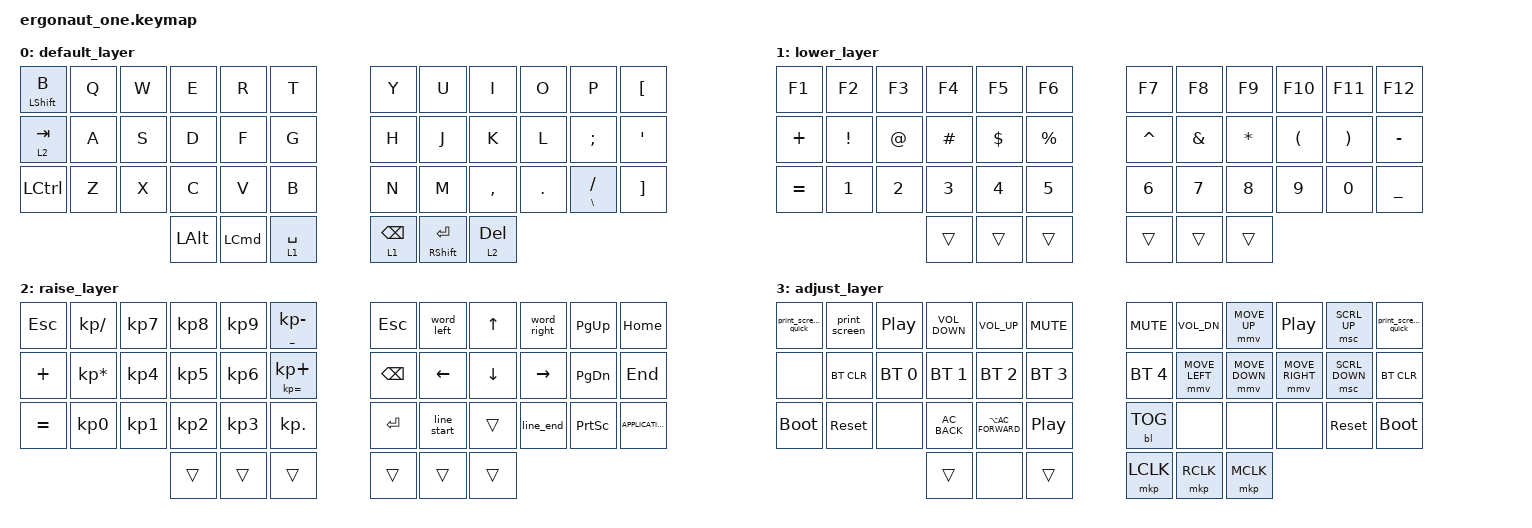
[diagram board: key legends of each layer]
#define ZMK_MOUSE_DEFAULT_MOVE_VAL 800  // 600
#define ZMK_MOUSE_DEFAULT_SCRL_VAL 20   // 10

#include <behaviors/mouse_keys.dtsi>
#include <dt-bindings/zmk/mouse.h>
#include <behaviors.dtsi>
#include <dt-bindings/zmk/backlight.h>
#include <dt-bindings/zmk/bt.h>
#include <dt-bindings/zmk/keys.h>
#include <dt-bindings/zmk/pointing.h>

#define DEF 0
#define LWR 1
#define RSE 2
#define ADJ 3

&lt {
    quick-tap-ms = <100>;
    flavor = "hold-preferred";
};

&mt { quick-tap-ms = <100>; };

&mmv {
    acceleration-exponent = <1>;  // 1
    time-to-max-speed-ms = <300>; // 300
    delay-ms = <0>;
    trigger-period-ms = <8>;      // 16
};

&msc {
    acceleration-exponent = <1>;  // 0
    time-to-max-speed-ms = <40>;  // 300
    delay-ms = <0>;
    trigger-period-ms = <8>;      // 16
};

/ {
    conditional_layers {
        compatible = "zmk,conditional-layers";

        tri-layer {
            if-layers = <1 2>;
            then-layer = <3>;
        };
    };

    combos {
        compatible = "zmk,combos";

        switch_lang {
            bindings = <&switch_lang>;
            key-positions = <38 39>;
            timeout-ms = <300>;
        };

        esc {
            bindings = <&kp ESCAPE>;
            key-positions = <0 12>;
            timeout-ms = <300>;
        };
    };

    macros {
        word_right: word_right {
            compatible = "zmk,behavior-macro";
            #binding-cells = <0>;
            bindings = <&kp LA(RIGHT)>;
            label = "WORD_RIGHT";
        };

        word_left: word_left {
            compatible = "zmk,behavior-macro";
            #binding-cells = <0>;
            bindings = <&kp LA(LEFT)>;
            label = "WORD_LEFT";
        };

        line_start: line_start {
            compatible = "zmk,behavior-macro";
            #binding-cells = <0>;
            bindings = <&kp LG(LEFT)>;
            label = "LINE_START";
        };

        line_end: line_end {
            compatible = "zmk,behavior-macro";
            #binding-cells = <0>;
            bindings = <&kp LG(RIGHT)>;
            label = "LINE_END";
        };

        switch_lang: switch_lang {
            compatible = "zmk,behavior-macro";
            #binding-cells = <0>;
            bindings = <&kp LG(SPACE)>;
            label = "SWITCH_LANG";
        };

        print_screen: print_screen {
            compatible = "zmk,behavior-macro";
            #binding-cells = <0>;
            bindings = <&kp LG(LS(NUMBER_4))>;
            label = "PRINT_SCREEN";
        };

        print_screen_quick: print_screen_quick {
            compatible = "zmk,behavior-macro";
            #binding-cells = <0>;
            bindings = <&kp LG(LS(NUMBER_3))>;
            label = "PRINT_SCREEN_QUICK";
        };
    };

    keymap {
        compatible = "zmk,keymap";

        default_layer {
            bindings = <
&mt LEFT_SHIFT B  &kp Q  &kp W  &kp E         &kp R             &kp T        &kp Y            &kp U            &kp I      &kp O    &kp P               &kp LBKT
&lt 2 TAB         &kp A  &kp S  &kp D         &kp F             &kp G        &kp H            &kp J            &kp K      &kp L    &kp SEMI            &kp SQT
&kp LCTRL         &kp Z  &kp X  &kp C         &kp V             &kp B        &kp N            &kp M            &kp COMMA  &kp DOT  &mt BACKSLASH FSLH  &kp RIGHT_BRACKET
                                &kp LEFT_ALT  &kp LEFT_COMMAND  &lt 1 SPACE  &lt 1 BACKSPACE  &mt RSHFT ENTER  &lt 2 DEL
            >;
        };

        lower_layer {
            bindings = <
&kp F1     &kp F2    &kp F3  &kp F4    &kp F5    &kp F6     &kp F7     &kp F8    &kp F9    &kp F10   &kp F11   &kp F12
&kp PLUS   &kp EXCL  &kp AT  &kp HASH  &kp DLLR  &kp PRCNT  &kp CARET  &kp AMPS  &kp STAR  &kp LPAR  &kp RPAR  &kp MINUS
&kp EQUAL  &kp N1    &kp N2  &kp N3    &kp N4    &kp N5     &kp N6     &kp N7    &kp N8    &kp N9    &kp N0    &kp UNDER
                             &trans    &trans    &trans     &trans     &trans    &trans
            >;
        };

        raise_layer {
            bindings = <
&kp ESCAPE  &kp KP_SLASH     &kp KP_N7  &kp KP_N8  &kp KP_N9  &mt UNDERSCORE KP_MINUS  &kp ESCAPE     &word_left   &kp UP_ARROW  &word_right  &kp PAGE_UP      &kp HOME
&kp PLUS    &kp KP_MULTIPLY  &kp KP_N4  &kp KP_N5  &kp KP_N6  &mt KP_EQUAL KP_PLUS     &kp BACKSPACE  &kp LEFT     &kp DOWN      &kp RIGHT    &kp PAGE_DOWN    &kp END
&kp EQUAL   &kp KP_N0        &kp KP_N1  &kp KP_N2  &kp KP_N3  &kp KP_DOT               &kp ENTER      &line_start  &trans        &line_end    &kp PRINTSCREEN  &kp K_APPLICATION
                                        &trans     &trans     &trans                   &trans         &trans       &trans
            >;
        };

        adjust_layer {
            bindings = <
&print_screen_quick  &print_screen  &kp C_PLAY_PAUSE  &kp C_VOLUME_DOWN  &kp C_VOL_UP          &kp K_MUTE        &kp K_MUTE    &kp C_VOL_DN    &mmv MOVE_UP    &kp C_PLAY_PAUSE  &msc SCRL_UP    &print_screen_quick
&none                &bt BT_CLR     &bt BT_SEL 0      &bt BT_SEL 1       &bt BT_SEL 2          &bt BT_SEL 3      &bt BT_SEL 4  &mmv MOVE_LEFT  &mmv MOVE_DOWN  &mmv MOVE_RIGHT   &msc SCRL_DOWN  &bt BT_CLR
&bootloader          &sys_reset     &none             &kp C_AC_BACK      &kp LA(C_AC_FORWARD)  &kp C_PLAY_PAUSE  &bl BL_TOG    &none           &none           &none             &sys_reset      &bootloader
                                                      &trans             &none                 &trans            &mkp LCLK     &mkp RCLK       &mkp MCLK
            >;
        };
    };
};
